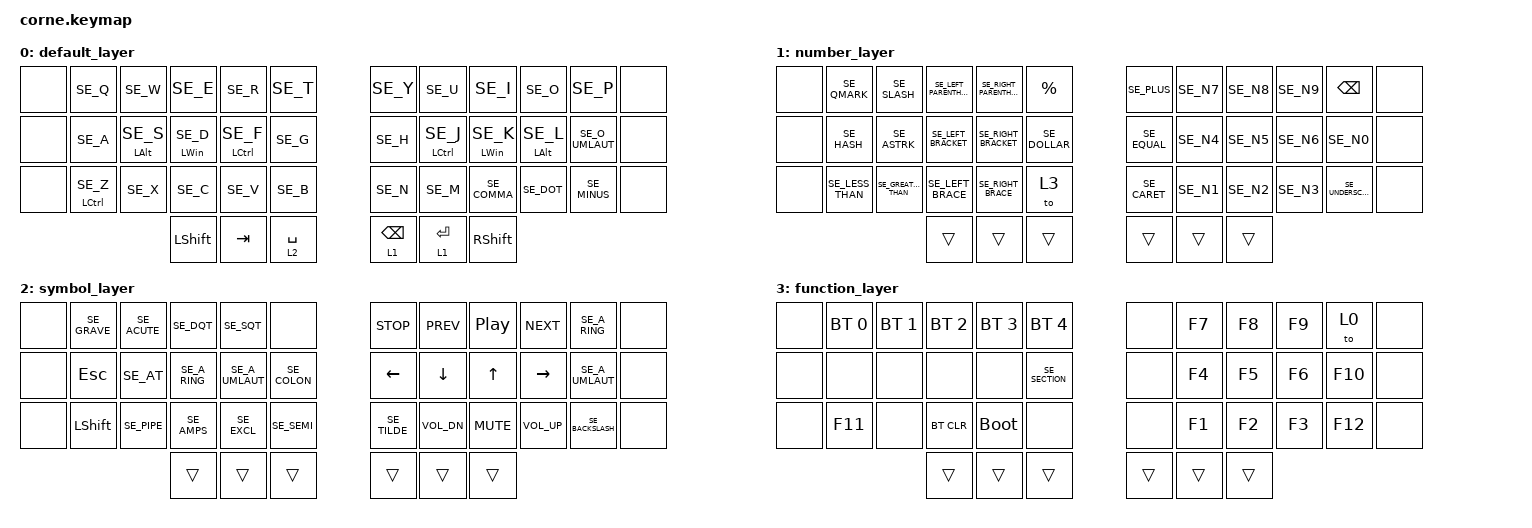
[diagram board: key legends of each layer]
#include <behaviors.dtsi>
#include <dt-bindings/zmk/bt.h>
#include <dt-bindings/zmk/keys.h>
#include "keys_se.h"

// Behavior Overrides

&lt {
    tapping-term-ms = <200>;
    flavor = "hold-preferred";
};

&caps_word {
};

/ {
    //combos {
    //  compatible = "zmk,combos";
    //combo_tab {
    //  timeout-ms = <20>;
    //  key-positions = <1 2>;
    //  bindings = <&kp TAB>;
    //};
    //  combo_enter {
    //    timeout-ms = <20>;
    //  key-positions = <13 14>;
    //bindings = <&kp ENTER>;
    //};
    //};

    macros {
        spotlight: spotlight {
            label = "spotlight";
            compatible = "zmk,behavior-macro";
            #binding-cells = <0>;
            bindings =
                <&macro_press>,
                <&kp LGUI>,
                <&macro_tap>,
                <&kp SPACE>,
                <&macro_release>,
                <&kp LGUI>;
        };

        // Emoji

        mac_emoji: mac_emoji {
            label = "mac_emoji";
            compatible = "zmk,behavior-macro";
            #binding-cells = <0>;
            bindings =
                <&macro_press>,
                <&kp LGUI>,
                <&macro_press>,
                <&kp LCTRL>,
                <&macro_tap>,
                <&kp SPACE>,
                <&macro_release>,
                <&kp LCTRL>,
                <&macro_release>,
                <&kp LGUI>;
        };

        win_emoji: win_emoji {
            label = "win_emoji";
            compatible = "zmk,behavior-macro";
            #binding-cells = <0>;
            bindings =
                <&macro_press>,
                <&kp LGUI>,
                <&macro_tap>,
                <&kp DOT>,
                <&macro_release>,
                <&kp LGUI>;
        };
    };

    behaviors {
        cm: code_row_mods {
            compatible = "zmk,behavior-hold-tap";
            label = "CODE_ROW_MODS";
            #binding-cells = <2>;
            tapping-term-ms = <200>;
            quick-tap-ms = <0>;
            flavor = "tap-preferred";
            bindings = <&kp>, <&kp>;

            retro-tap;
        };

        HMShftR: HMShftR {
            compatible = "zmk,behavior-hold-tap";
            label = "HMSHFTR";
            bindings = <&kp>, <&kp>;

            #binding-cells = <2>;
            tapping-term-ms = <200>;
            hold-trigger-key-positions = <
                0 1 2 3 4 5 
                12 13 14 15 16 17 
                24 25 26 27 28 29 
                36 37 38
            >;

            hold-trigger-on-release;
        };

        HMShiftL: HMShiftL {
            compatible = "zmk,behavior-hold-tap";
            label = "HMSHIFTL";
            bindings = <&kp>, <&kp>;

            #binding-cells = <2>;
            tapping-term-ms = <200>;
            hold-trigger-on-release;
            hold-trigger-key-positions = <
                6 7 8 9 10 11
                18 19 20 21 22 23
                30 31 32 33 34 35
                39 40 41
            >;
        };

        HM_L: HM_L {
            compatible = "zmk,behavior-hold-tap";
            label = "HOMEROW_MOD_LEFT";
            bindings = <&kp>, <&kp>;

            #binding-cells = <2>;
            tapping-term-ms = <200>;
            flavor = "balanced";
            hold-trigger-on-release;
            hold-trigger-key-positions = <6 7 8 9 10 11 18 19 20 21 22 23 30 31 32 33 34 35 39 40 41 36 37 38>;
        };

        HM_R: HM_R {
            compatible = "zmk,behavior-hold-tap";
            label = "HM_R";
            bindings = <&kp>, <&kp>;

            #binding-cells = <2>;
            tapping-term-ms = <200>;
            flavor = "balanced";
            hold-trigger-on-release;
            hold-trigger-key-positions = <39 40 41 38 37 36 0 1 2 3 4 5 12 13 14 15 16 17 24 25 26 27 28 29>;
        };
    };

    combos {
        compatible = "zmk,combos";

        Escape {
            bindings = <&kp ESC>;
            key-positions = <14 15>;
        };

        CapsWord {
            bindings = <&caps_word>;
            key-positions = <20 21>;
        };
    };

    keymap {
        compatible = "zmk,keymap";

        // -----------------------------------------------------------------------------------------
        // |  TAB |  Q  |  W  |  E  |  R  |  T  |   |  Y  |  U   |  I  |  O  |  P  | BSPC |
        // | CTRL |  A  |  S  |  D  |  F  |  G  |   |  H  |  J   |  K  |  L  |  ;  |  '   |
        // | SHFT |  Z  |  X  |  C  |  V  |  B  |   |  N  |  M   |  ,  |  .  |  /  | ESC  |
        //                    | GUI | LWR | SPC |   | ENT | RSE  | ALT |

        default_layer {
            bindings = <
&none  &kp SE_Q              &kp SE_W             &kp SE_E             &kp SE_R          &kp SE_T       &kp SE_Y    &kp SE_U          &kp SE_I             &kp SE_O             &kp SE_P         &none
&none  &kp SE_A              &HM_L LEFT_ALT SE_S  &HM_L LEFT_WIN SE_D  &HM_L LCTRL SE_F  &kp SE_G       &kp SE_H    &HM_R LCTRL SE_J  &HM_R LEFT_WIN SE_K  &HM_R LEFT_ALT SE_L  &kp SE_O_UMLAUT  &none
&none  &HMShiftL LCTRL SE_Z  &kp SE_X             &kp SE_C             &kp SE_V          &kp SE_B       &kp SE_N    &kp SE_M          &kp SE_COMMA         &kp SE_DOT           &kp SE_MINUS     &none
                                                  &kp LSHIFT           &kp TAB           &lt 2 SPACE    &lt 1 BSPC  &lt 1 ENTER       &kp RSHIFT
            >;
        };

        number_layer {
            bindings = <
&none  &kp SE_QMARK      &kp SE_SLASH         &kp SE_LEFT_PARENTHESIS  &kp SE_RIGHT_PARENTHESIS  &kp PRCNT        &kp SE_PLUS   &kp SE_N7  &kp SE_N8  &kp SE_N9  &kp BSPC           &none
&none  &kp SE_HASH       &kp SE_ASTRK         &kp SE_LEFT_BRACKET      &kp SE_RIGHT_BRACKET      &kp SE_DOLLAR    &kp SE_EQUAL  &kp SE_N4  &kp SE_N5  &kp SE_N6  &kp SE_N0          &none
&none  &kp SE_LESS_THAN  &kp SE_GREATER_THAN  &kp SE_LEFT_BRACE        &kp SE_RIGHT_BRACE        &to 3            &kp SE_CARET  &kp SE_N1  &kp SE_N2  &kp SE_N3  &kp SE_UNDERSCORE  &none
                                              &trans                   &trans                    &trans           &trans        &trans     &trans
            >;
        };

        symbol_layer {
            bindings = <
&none  &kp SE_GRAVE    &kp SE_ACUTE  &kp SE_DQT     &kp SE_SQT       &none           &kp C_STOP    &kp C_PREV    &kp C_PP    &kp C_NEXT    &kp SE_A_RING     &none
&none  &kp ESC         &kp SE_AT     &kp SE_A_RING  &kp SE_A_UMLAUT  &kp SE_COLON    &kp LEFT      &kp DOWN      &kp UP      &kp RIGHT     &kp SE_A_UMLAUT   &none
&none  &kp LEFT_SHIFT  &kp SE_PIPE   &kp SE_AMPS    &kp SE_EXCL      &kp SE_SEMI     &kp SE_TILDE  &kp C_VOL_DN  &kp C_MUTE  &kp C_VOL_UP  &kp SE_BACKSLASH  &none
                                     &trans         &trans           &trans          &trans        &trans        &trans
            >;
        };

        function_layer {
            bindings = <
&none  &bt BT_SEL 0  &bt BT_SEL 1  &bt BT_SEL 2  &bt BT_SEL 3  &bt BT_SEL 4      &none   &kp F7  &kp F8  &kp F9  &to 0    &none
&none  &none         &none         &none         &none         &kp SE_SECTION    &none   &kp F4  &kp F5  &kp F6  &kp F10  &none
&none  &kp F11       &none         &bt BT_CLR    &bootloader   &none             &none   &kp F1  &kp F2  &kp F3  &kp F12  &none
                                   &trans        &trans        &trans            &trans  &trans  &trans
            >;
        };
    };
};
